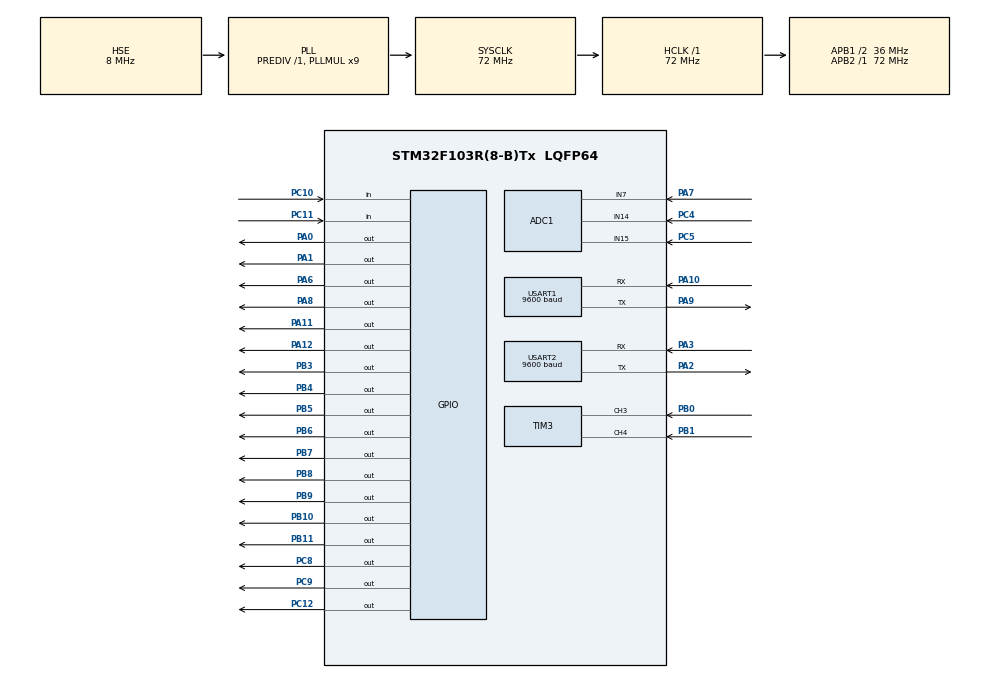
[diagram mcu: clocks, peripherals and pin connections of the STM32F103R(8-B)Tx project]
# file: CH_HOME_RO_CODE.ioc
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ADC1.Channel-0\#ChannelRegularConversion=ADC_CHANNEL_7
ADC1.Channel-1\#ChannelRegularConversion=ADC_CHANNEL_14
ADC1.Channel-2\#ChannelRegularConversion=ADC_CHANNEL_15
ADC1.ContinuousConvMode=ENABLE
ADC1.DataAlign=ADC_DATAALIGN_RIGHT
ADC1.DiscontinuousConvMode=DISABLE
ADC1.EnableAnalogWatchDog=false
ADC1.EnableRegularConversion=ENABLE
ADC1.ExternalTrigConv=ADC_SOFTWARE_START
ADC1.InjNumberOfConversion=0
ADC1.NbrOfConversion=3
ADC1.NbrOfConversionFlag=1
ADC1.Rank-0\#ChannelRegularConversion=1
ADC1.Rank-1\#ChannelRegularConversion=2
ADC1.Rank-2\#ChannelRegularConversion=3
ADC1.SamplingTime-0\#ChannelRegularConversion=ADC_SAMPLETIME_55CYCLES_5
ADC1.SamplingTime-1\#ChannelRegularConversion=ADC_SAMPLETIME_55CYCLES_5
ADC1.SamplingTime-2\#ChannelRegularConversion=ADC_SAMPLETIME_55CYCLES_5
ADC1.ScanConvMode=ADC_SCAN_ENABLE
ADC1.master=1
Dma.ADC1.4.Direction=DMA_PERIPH_TO_MEMORY
Dma.ADC1.4.Instance=DMA1_Channel1
Dma.ADC1.4.MemDataAlignment=DMA_MDATAALIGN_WORD
Dma.ADC1.4.MemInc=DMA_MINC_ENABLE
Dma.ADC1.4.Mode=DMA_CIRCULAR
Dma.ADC1.4.PeriphDataAlignment=DMA_PDATAALIGN_WORD
Dma.ADC1.4.PeriphInc=DMA_PINC_DISABLE
Dma.ADC1.4.Priority=DMA_PRIORITY_LOW
Dma.Request0=USART1_RX
Dma.Request1=USART1_TX
Dma.Request2=USART2_RX
Dma.Request3=USART2_TX
Dma.Request4=ADC1
Dma.USART1_RX.0.Direction=DMA_PERIPH_TO_MEMORY
Dma.USART1_RX.0.Instance=DMA1_Channel5
Dma.USART1_RX.0.MemDataAlignment=DMA_MDATAALIGN_BYTE
Dma.USART1_RX.0.MemInc=DMA_MINC_ENABLE
Dma.USART1_RX.0.Mode=DMA_NORMAL
Dma.USART1_RX.0.PeriphDataAlignment=DMA_PDATAALIGN_BYTE
Dma.USART1_RX.0.PeriphInc=DMA_PINC_DISABLE
Dma.USART1_RX.0.Priority=DMA_PRIORITY_VERY_HIGH
Dma.USART1_TX.1.Direction=DMA_MEMORY_TO_PERIPH
Dma.USART1_TX.1.Instance=DMA1_Channel4
Dma.USART1_TX.1.MemDataAlignment=DMA_MDATAALIGN_BYTE
Dma.USART1_TX.1.MemInc=DMA_MINC_ENABLE
Dma.USART1_TX.1.Mode=DMA_NORMAL
Dma.USART1_TX.1.PeriphDataAlignment=DMA_PDATAALIGN_BYTE
Dma.USART1_TX.1.PeriphInc=DMA_PINC_DISABLE
Dma.USART1_TX.1.Priority=DMA_PRIORITY_LOW
Dma.USART2_RX.2.Direction=DMA_PERIPH_TO_MEMORY
Dma.USART2_RX.2.Instance=DMA1_Channel6
Dma.USART2_RX.2.MemDataAlignment=DMA_MDATAALIGN_BYTE
Dma.USART2_RX.2.MemInc=DMA_MINC_ENABLE
Dma.USART2_RX.2.Mode=DMA_NORMAL
Dma.USART2_RX.2.PeriphDataAlignment=DMA_PDATAALIGN_BYTE
Dma.USART2_RX.2.PeriphInc=DMA_PINC_DISABLE
Dma.USART2_RX.2.Priority=DMA_PRIORITY_VERY_HIGH
Dma.USART2_TX.3.Direction=DMA_MEMORY_TO_PERIPH
Dma.USART2_TX.3.Instance=DMA1_Channel7
Dma.USART2_TX.3.MemDataAlignment=DMA_MDATAALIGN_BYTE
Dma.USART2_TX.3.MemInc=DMA_MINC_ENABLE
Dma.USART2_TX.3.Mode=DMA_NORMAL
Dma.USART2_TX.3.PeriphDataAlignment=DMA_PDATAALIGN_BYTE
Dma.USART2_TX.3.PeriphInc=DMA_PINC_DISABLE
Dma.USART2_TX.3.Priority=DMA_PRIORITY_LOW
FREERTOS.INCLUDE_vTaskDelayUntil=1
FREERTOS.Tasks01=AppTask,2,256,StartAppTask,Default,NULL,Dynamic,NULL,NULL;Bc95InitTask,-3,1024,StartBc95InitTask,Default,NULL,Dynamic,NULL,NULL;ControlTask,1,256,StartControlTask,Default,NULL,Dynamic,NULL,NULL;ErrorCheckTask,-3,300,StartErrorCheckTask,Default,NULL,Dynamic,NULL,NULL;Bc95RecvTask,3,1024,StartBc95RecvTask,Default,NULL,Dynamic,NULL,NULL;Bc95SendTask,-3,800,StartBc95SendTask,Default,NULL,Dynamic,NULL,NULL
FREERTOS.configTOTAL_HEAP_SIZE=17000
Mcu.Family=STM32F1
Mcu.Name=STM32F103R(8-B)Tx
Mcu.Package=LQFP64
NVIC.DMA1_Channel1_IRQn=true\:5\:0\:false\:false\:true\:true\:false
NVIC.DMA1_Channel4_IRQn=true\:5\:0\:false\:false\:true\:true\:false
NVIC.DMA1_Channel5_IRQn=true\:5\:0\:false\:false\:true\:true\:false
NVIC.DMA1_Channel6_IRQn=true\:5\:0\:false\:false\:true\:true\:false
NVIC.DMA1_Channel7_IRQn=true\:5\:0\:false\:false\:true\:true\:false
NVIC.PriorityGroup=NVIC_PRIORITYGROUP_4
NVIC.TIM1_BRK_IRQn=true\:5\:0\:false\:false\:true\:true\:true
NVIC.TIM1_CC_IRQn=true\:5\:0\:false\:false\:true\:true\:true
NVIC.TIM1_TRG_COM_IRQn=true\:5\:0\:false\:false\:true\:true\:true
NVIC.TIM1_UP_IRQn=true\:5\:0\:false\:false\:true\:true\:true
NVIC.TIM2_IRQn=true\:5\:0\:false\:false\:true\:true\:true
NVIC.TIM3_IRQn=true\:5\:0\:false\:false\:true\:true\:true
NVIC.TIM4_IRQn=true\:0\:0\:false\:false\:true\:false\:false
NVIC.TimeBase=TIM4_IRQn
NVIC.TimeBaseIP=TIM4
NVIC.USART1_IRQn=true\:5\:0\:false\:false\:true\:true\:true
NVIC.USART2_IRQn=true\:5\:0\:false\:false\:true\:true\:true
PA0-WKUP.Signal=GPIO_Output
PA1.GPIO_Speed=GPIO_SPEED_FREQ_HIGH
PA1.Signal=GPIO_Output
PA10.Mode=Asynchronous
PA10.Signal=USART1_RX
PA11.Signal=GPIO_Output
PA12.GPIO_Speed=GPIO_SPEED_FREQ_HIGH
PA12.PinState=GPIO_PIN_RESET
PA12.Signal=GPIO_Output
PA13.Mode=Serial_Wire
PA13.Signal=SYS_JTMS-SWDIO
PA14.Mode=Serial_Wire
PA14.Signal=SYS_JTCK-SWCLK
PA2.Mode=Asynchronous
PA2.Signal=USART2_TX
PA3.Mode=Asynchronous
PA3.Signal=USART2_RX
PA6.Signal=GPIO_Output
PA7.Signal=ADCx_IN7
PA8.Signal=GPIO_Output
PA9.Mode=Asynchronous
PA9.Signal=USART1_TX
PB0.Signal=S_TIM3_CH3
PB1.Signal=S_TIM3_CH4
PB10.GPIO_ModeDefaultOutputPP=GPIO_MODE_OUTPUT_OD
PB10.GPIO_Speed=GPIO_SPEED_FREQ_HIGH
PB10.Signal=GPIO_Output
PB11.GPIO_ModeDefaultOutputPP=GPIO_MODE_OUTPUT_OD
PB11.GPIO_Speed=GPIO_SPEED_FREQ_HIGH
PB11.Signal=GPIO_Output
PB3.GPIO_Speed=GPIO_SPEED_FREQ_LOW
PB3.PinState=GPIO_PIN_SET
PB3.Signal=GPIO_Output
PB4.PinState=GPIO_PIN_SET
PB4.Signal=GPIO_Output
PB5.PinState=GPIO_PIN_SET
PB5.Signal=GPIO_Output
PB6.PinState=GPIO_PIN_SET
PB6.Signal=GPIO_Output
PB7.PinState=GPIO_PIN_SET
PB7.Signal=GPIO_Output
PB8.Signal=GPIO_Output
PB9.Signal=GPIO_Output
PC10.GPIO_PuPd=GPIO_PULLUP
PC10.Signal=GPIO_Input
PC11.GPIO_PuPd=GPIO_PULLUP
PC11.Signal=GPIO_Input
PC12.GPIO_Speed=GPIO_SPEED_FREQ_LOW
PC12.PinState=GPIO_PIN_SET
PC12.Signal=GPIO_Output
PC4.Signal=ADCx_IN14
PC5.Signal=ADCx_IN15
PC8.Signal=GPIO_Output
PC9.Signal=GPIO_Output
PD0-OSC_IN.Mode=HSE-External-Oscillator
PD0-OSC_IN.Signal=RCC_OSC_IN
PD1-OSC_OUT.Mode=HSE-External-Oscillator
PD1-OSC_OUT.Signal=RCC_OSC_OUT
ProjectManager.HeapSize=0x200
ProjectManager.StackSize=0x400
ProjectManager.TargetToolchain=EWARM
RCC.ADCPresc=RCC_ADCPCLK2_DIV6
RCC.AHBFreq_Value=72000000
RCC.APB1CLKDivider=RCC_HCLK_DIV2
RCC.APB1Freq_Value=36000000
RCC.APB1TimFreq_Value=72000000
RCC.APB2Freq_Value=72000000
RCC.APB2TimFreq_Value=72000000
RCC.HCLKFreq_Value=72000000
RCC.PLLMUL=RCC_PLL_MUL9
RCC.PLLSourceVirtual=RCC_PLLSOURCE_HSE
RCC.SYSCLKFreq_VALUE=72000000
RCC.SYSCLKSource=RCC_SYSCLKSOURCE_PLLCLK
RCC.USBFreq_Value=72000000
SH.ADCx_IN14.0=ADC1_IN14,IN14
SH.ADCx_IN15.0=ADC1_IN15,IN15
SH.ADCx_IN7.0=ADC1_IN7,IN7
SH.S_TIM3_CH3.0=TIM3_CH3,Input_Capture3_from_TI3
SH.S_TIM3_CH4.0=TIM3_CH4,Input_Capture4_from_TI4
TIM1.Period=10000-1
TIM1.Prescaler=7200-1
TIM2.Period=100-1
TIM2.Prescaler=7200-1
TIM3.Channel-Input_Capture3_from_TI3=TIM_CHANNEL_3
TIM3.Channel-Input_Capture4_from_TI4=TIM_CHANNEL_4
USART1.BaudRate=9600
USART1.VirtualMode=VM_ASYNC
USART2.BaudRate=9600
USART2.VirtualMode=VM_ASYNC
VP_FREERTOS_VS_ENABLE.Mode=Enabled
VP_SYS_VS_tim4.Mode=TIM4
VP_TIM1_VS_ClockSourceINT.Mode=Internal
VP_TIM2_VS_ClockSourceINT.Mode=Internal
board=CH_HOME_RO_CODE

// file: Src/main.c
/**
  ******************************************************************************
  * @file           : main.c
  * @brief          : Main program body
  ******************************************************************************
  * This notice applies to any and all portions of this file
  * that are not between comment pairs USER CODE BEGIN and
  * USER CODE END. Other portions of this file, whether
  * inserted by the user or by software development tools
  * are owned by their respective copyright owners.
  *
  * Copyright (c) 2018 STMicroelectronics International N.V.
  * All rights reserved.
  *
  * Redistribution and use in source and binary forms, with or without
  * modification, are permitted, provided that the following conditions are met:
  *
  * 1. Redistribution of source code must retain the above copyright notice,
  *    this list of conditions and the following disclaimer.
  * 2. Redistributions in binary form must reproduce the above copyright notice,
  *    this list of conditions and the following disclaimer in the documentation
  *    and/or other materials provided with the distribution.
  * 3. Neither the name of STMicroelectronics nor the names of other
  *    contributors to this software may be used to endorse or promote products
  *    derived from this software without specific written permission.
  * 4. This software, including modifications and/or derivative works of this
  *    software, must execute solely and exclusively on microcontroller or
  *    microprocessor devices manufactured by or for STMicroelectronics.
  * 5. Redistribution and use of this software other than as permitted under
  *    this license is void and will automatically terminate your rights under
  *    this license.
  *
  * THIS SOFTWARE IS PROVIDED BY STMICROELECTRONICS AND CONTRIBUTORS "AS IS"
  * AND ANY EXPRESS, IMPLIED OR STATUTORY WARRANTIES, INCLUDING, BUT NOT
  * LIMITED TO, THE IMPLIED WARRANTIES OF MERCHANTABILITY, FITNESS FOR A
  * PARTICULAR PURPOSE AND NON-INFRINGEMENT OF THIRD PARTY INTELLECTUAL PROPERTY
  * RIGHTS ARE DISCLAIMED TO THE FULLEST EXTENT PERMITTED BY LAW. IN NO EVENT
  * SHALL STMICROELECTRONICS OR CONTRIBUTORS BE LIABLE FOR ANY DIRECT, INDIRECT,
  * INCIDENTAL, SPECIAL, EXEMPLARY, OR CONSEQUENTIAL DAMAGES (INCLUDING, BUT NOT
  * LIMITED TO, PROCUREMENT OF SUBSTITUTE GOODS OR SERVICES; LOSS OF USE, DATA,
  * OR PROFITS; OR BUSINESS INTERRUPTION) HOWEVER CAUSED AND ON ANY THEORY OF
  * LIABILITY, WHETHER IN CONTRACT, STRICT LIABILITY, OR TORT (INCLUDING
  * NEGLIGENCE OR OTHERWISE) ARISING IN ANY WAY OUT OF THE USE OF THIS SOFTWARE,
  * EVEN IF ADVISED OF THE POSSIBILITY OF SUCH DAMAGE.
  *
  ******************************************************************************
  */
#include "main.h"
#include "stm32f1xx_hal.h"
#include "cmsis_os.h"
#include "adc.h"
#include "dma.h"
#include "tim.h"
#include "usart.h"
#include "gpio.h"

/* USER CODE BEGIN Includes */
#include "app.h"
/* USER CODE END Includes */

/* USER CODE BEGIN PV */
/* Private variables ---------------------------------------------------------*/

/* USER CODE END PV */

void SystemClock_Config(void);
void MX_FREERTOS_Init(void);

/* USER CODE BEGIN PFP */
/* Private function prototypes -----------------------------------------------*/

/* USER CODE END PFP */

int main(void)
{

  /* MCU Configuration----------------------------------------------------------*/

  /* Reset of all peripherals, Initializes the Flash interface and the Systick. */
  HAL_Init();

  /* Configure the system clock */
  SystemClock_Config();

  /* Initialize all configured peripherals */
  MX_GPIO_Init();
  MX_DMA_Init();
  MX_ADC1_Init();
  MX_USART2_UART_Init();
  MX_USART1_UART_Init();
  MX_TIM3_Init();
  MX_TIM2_Init();
  MX_TIM1_Init();
  /* USER CODE BEGIN 2 */

    __HAL_UART_ENABLE_IT(&huart2, UART_IT_IDLE);

    device_status.rinse = 1;      //开机冲洗，
    device_status.boot = 1;       //设置设备开机
    start_adc();                  //开启adc转换

    HAL_TIM_IC_Start_IT(&htim3, TIM_CHANNEL_3);
    HAL_TIM_Base_Start_IT(&htim1);

    //读取eeprom
    eeprom_read_device_status();

    if(device_status.device_registe != 1){
        HAL_Delay(100);

        eeprom_save_device_status(YES);
        HAL_Delay(100);
        eeprom_read_device_status();
        device_status.rinse_time = 10;                  //默认冲洗10秒
        device_status.create_water_time_rinse = 1;      //制水1刻钟 15分钟冲洗
        device_status.device_mode = 1;                  //默认为租赁模式
        HAL_Delay(100);
        eeprom_save_device_status(NO);
    }

  /* USER CODE END 2 */

  /* Call init function for freertos objects (in freertos.c) */
  MX_FREERTOS_Init();

  /* Start scheduler */
  osKernelStart();

  /* We should never get here as control is now taken by the scheduler */

  /* Infinite loop */
    while (1)
    {

    }

}

void SystemClock_Config(void)
{

  RCC_OscInitTypeDef RCC_OscInitStruct;
  RCC_ClkInitTypeDef RCC_ClkInitStruct;
  RCC_PeriphCLKInitTypeDef PeriphClkInit;

    /**Initializes the CPU, AHB and APB busses clocks
    */
  RCC_OscInitStruct.OscillatorType = RCC_OSCILLATORTYPE_HSE;
  RCC_OscInitStruct.HSEState = RCC_HSE_ON;
  RCC_OscInitStruct.HSEPredivValue = RCC_HSE_PREDIV_DIV1;
  RCC_OscInitStruct.HSIState = RCC_HSI_ON;
  RCC_OscInitStruct.PLL.PLLState = RCC_PLL_ON;
  RCC_OscInitStruct.PLL.PLLSource = RCC_PLLSOURCE_HSE;
  RCC_OscInitStruct.PLL.PLLMUL = RCC_PLL_MUL9;
  if (HAL_RCC_OscConfig(&RCC_OscInitStruct) != HAL_OK)
  {
    _Error_Handler(__FILE__, __LINE__);
  }

    /**Initializes the CPU, AHB and APB busses clocks
    */
  RCC_ClkInitStruct.ClockType = RCC_CLOCKTYPE_HCLK|RCC_CLOCKTYPE_SYSCLK
                              |RCC_CLOCKTYPE_PCLK1|RCC_CLOCKTYPE_PCLK2;
  RCC_ClkInitStruct.SYSCLKSource = RCC_SYSCLKSOURCE_PLLCLK;
  RCC_ClkInitStruct.AHBCLKDivider = RCC_SYSCLK_DIV1;
  RCC_ClkInitStruct.APB1CLKDivider = RCC_HCLK_DIV2;
  RCC_ClkInitStruct.APB2CLKDivider = RCC_HCLK_DIV1;

  if (HAL_RCC_ClockConfig(&RCC_ClkInitStruct, FLASH_LATENCY_2) != HAL_OK)
  {
    _Error_Handler(__FILE__, __LINE__);
  }

  PeriphClkInit.PeriphClockSelection = RCC_PERIPHCLK_ADC;
  PeriphClkInit.AdcClockSelection = RCC_ADCPCLK2_DIV6;
  if (HAL_RCCEx_PeriphCLKConfig(&PeriphClkInit) != HAL_OK)
  {
    _Error_Handler(__FILE__, __LINE__);
  }

    /**Configure the Systick interrupt time
    */
  HAL_SYSTICK_Config(HAL_RCC_GetHCLKFreq()/1000);

    /**Configure the Systick
    */
  HAL_SYSTICK_CLKSourceConfig(SYSTICK_CLKSOURCE_HCLK);

  /* SysTick_IRQn interrupt configuration */
  HAL_NVIC_SetPriority(SysTick_IRQn, 15, 0);
}

void HAL_TIM_PeriodElapsedCallback(TIM_HandleTypeDef *htim)
{
  /* USER CODE BEGIN Callback 0 */

    if (htim->Instance == TIM1) {
        //制水时间计时器，每秒记一次，如果满60则加一分钟
        device_status.create_water_time_s++;
        if(device_status.create_water_time_s >= 60){
            device_status.create_water_time_m++;
            device_status.create_water_time_s = 0;
        }
    }

  /* USER CODE END Callback 0 */
  if (htim->Instance == TIM4) {
    HAL_IncTick();
  }
}

void _Error_Handler(char *file, int line)
{
    while(1)
    {
    }
}

/************************ (C) COPYRIGHT STMicroelectronics *****END OF FILE****/

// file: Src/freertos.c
/**
  ******************************************************************************
  * File Name          : freertos.c
  * Description        : Code for freertos applications
  ******************************************************************************
  * This notice applies to any and all portions of this file
  * that are not between comment pairs USER CODE BEGIN and
  * USER CODE END. Other portions of this file, whether
  * inserted by the user or by software development tools
  * are owned by their respective copyright owners.
  *
  * Copyright (c) 2018 STMicroelectronics International N.V.
  * All rights reserved.
  *
  * Redistribution and use in source and binary forms, with or without
  * modification, are permitted, provided that the following conditions are met:
  *
  * 1. Redistribution of source code must retain the above copyright notice,
  *    this list of conditions and the following disclaimer.
  * 2. Redistributions in binary form must reproduce the above copyright notice,
  *    this list of conditions and the following disclaimer in the documentation
  *    and/or other materials provided with the distribution.
  * 3. Neither the name of STMicroelectronics nor the names of other
  *    contributors to this software may be used to endorse or promote products
  *    derived from this software without specific written permission.
  * 4. This software, including modifications and/or derivative works of this
  *    software, must execute solely and exclusively on microcontroller or
  *    microprocessor devices manufactured by or for STMicroelectronics.
  * 5. Redistribution and use of this software other than as permitted under
  *    this license is void and will automatically terminate your rights under
  *    this license.
  *
  * THIS SOFTWARE IS PROVIDED BY STMICROELECTRONICS AND CONTRIBUTORS "AS IS"
  * AND ANY EXPRESS, IMPLIED OR STATUTORY WARRANTIES, INCLUDING, BUT NOT
  * LIMITED TO, THE IMPLIED WARRANTIES OF MERCHANTABILITY, FITNESS FOR A
  * PARTICULAR PURPOSE AND NON-INFRINGEMENT OF THIRD PARTY INTELLECTUAL PROPERTY
  * RIGHTS ARE DISCLAIMED TO THE FULLEST EXTENT PERMITTED BY LAW. IN NO EVENT
  * SHALL STMICROELECTRONICS OR CONTRIBUTORS BE LIABLE FOR ANY DIRECT, INDIRECT,
  * INCIDENTAL, SPECIAL, EXEMPLARY, OR CONSEQUENTIAL DAMAGES (INCLUDING, BUT NOT
  * LIMITED TO, PROCUREMENT OF SUBSTITUTE GOODS OR SERVICES; LOSS OF USE, DATA,
  * OR PROFITS; OR BUSINESS INTERRUPTION) HOWEVER CAUSED AND ON ANY THEORY OF
  * LIABILITY, WHETHER IN CONTRACT, STRICT LIABILITY, OR TORT (INCLUDING
  * NEGLIGENCE OR OTHERWISE) ARISING IN ANY WAY OUT OF THE USE OF THIS SOFTWARE,
  * EVEN IF ADVISED OF THE POSSIBILITY OF SUCH DAMAGE.
  *
  ******************************************************************************
  */

#include "FreeRTOS.h"
#include "task.h"
#include "cmsis_os.h"

/* USER CODE BEGIN Includes */

#include "app.h"

/* USER CODE END Includes */

osThreadId AppTaskHandle;
osThreadId Bc95InitTaskHandle;
osThreadId ControlTaskHandle;
osThreadId ErrorCheckTaskHandle;
osThreadId Bc95RecvTaskHandle;
osThreadId Bc95SendTaskHandle;

void StartAppTask(void const * argument);
void StartBc95InitTask(void const * argument);
void StartControlTask(void const * argument);
void StartErrorCheckTask(void const * argument);
void StartBc95RecvTask(void const * argument);
void StartBc95SendTask(void const * argument);

void MX_FREERTOS_Init(void); /* (MISRA C 2004 rule 8.1) */

/* Hook prototypes */

/* Init FreeRTOS */

void MX_FREERTOS_Init(void) {

  /* Create the thread(s) */

  /* definition and creation of Bc95InitTask */
  osThreadDef(Bc95InitTask, StartBc95InitTask, osPriorityIdle, 0, 1024);
  Bc95InitTaskHandle = osThreadCreate(osThread(Bc95InitTask), NULL);

  if(device_status.device_registe == 1){
      osThreadDef(ControlTask, StartControlTask, osPriorityAboveNormal, 0, 256);
      ControlTaskHandle = osThreadCreate(osThread(ControlTask), NULL);
  }

  /* definition and creation of Bc95SendTask */
  osThreadDef(Bc95SendTask, StartBc95SendTask, osPriorityIdle, 0, 1024);
  Bc95SendTaskHandle = osThreadCreate(osThread(Bc95SendTask), NULL);

}

/* StartAppTask function */
void StartAppTask(void const * argument)
{

  /* USER CODE BEGIN StartAppTask */
    uint32_t send_data_time_count = 0;
    /* Infinite loop */
    for(;;)
    {

        send_data_time_count++;

        if(device_status.device_mode == 1){              //设备为租赁模式

            if(device_status.arrears_boot == 0){         //如果设备欠费则停机
                device_status.boot = 0;
            }

            if(device_status.flow_or_time == 1){         //流量模式

                if(device_status.server_flow <= 0){
                    device_status.arrears_boot = 0;
                }

            }else if(device_status.flow_or_time == 2){  //时间模式
                //如果时间到则停机
                if(device_status.server_time <= 0){
                    device_status.arrears_boot = 0;      //设置停机
                }
            }

        }else if(device_status.device_mode == 2){       //设备为零售模式
            //零售模式不存在停机开关机，永远停机开机
            device_status.arrears_boot = 1;
        }

        if(send_data_time_count >= 57600){               //48分钟发送一次
            bc95_status.need_send = 1;
            send_data_time_count = 0;
        }

        feed_wdi();
        osDelay(50);
    }
  /* USER CODE END StartAppTask */
}

/* StartBc95InitTask function */
void StartBc95InitTask(void const * argument)
{
  /* USER CODE BEGIN StartBc95InitTask */
    /* Infinite loop */
    for(;;)
    {

        beep(255);
        osDelay(256);
        beep(255);

        if(device_status.bc95_run){
            //开启计费系统
            /* definition and creation of AppTask */
            osThreadDef(AppTask, StartAppTask, osPriorityHigh, 0, 256);
            AppTaskHandle = osThreadCreate(osThread(AppTask), NULL);

            //如果系统第一次启动，不会启动控制系统，如果检测到控制系统未启动，则
            //开启控制系统
            if(ControlTaskHandle == NULL && device_status.device_registe == 1){
                osThreadDef(ControlTask, StartControlTask, osPriorityAboveNormal, 0, 256);
                ControlTaskHandle = osThreadCreate(osThread(ControlTask), NULL);
            }else{
                //device_status.arrears_boot = 0;
            }

            //开始检查bc95接收任务
            /* definition and creation of Bc95RecvTask */
            osThreadDef(Bc95RecvTask, StartBc95RecvTask, osPriorityIdle, 0, 1024);
            Bc95RecvTaskHandle = osThreadCreate(osThread(Bc95RecvTask), NULL);

            /* definition and creation of ErrorCheckTask */
            osThreadDef(ErrorCheckTask, StartErrorCheckTask, osPriorityIdle, 0, 256);
            ErrorCheckTaskHandle = osThreadCreate(osThread(ErrorCheckTask), NULL);

            status_network_led(GPIO_PIN_SET);

            //初始化完成后删除该任务
            vTaskDelete(NULL);
        }
        bc95_reboot();
        osDelay(1300);
    }
  /* USER CODE END StartBc95InitTask */
}

/* StartControlTask function */
void StartControlTask(void const * argument)
{
  /* USER CODE BEGIN StartControlTask */
    uint8_t no_water_count = 0;
    /* Infinite loop */
    for(;;)
    {
        //boot_rinse();
        _system_led;

        //如果需要冲洗，则开启冲洗
        if(device_status.rinse){
            device_status.rinse = 0;
            start_rinse();
            osDelay(device_status.rinse_time * 1000);
            stop_rinse();
        }

        //检测是否缺水
        if(get_low_switch()){
            no_water_count++;
            stop_rinse();

            if(no_water_count >= 5){    //如果连续10秒没有水
                device_error.raw_no_water = 1;
            }

        }else{
            //清空缺水计数
            no_water_count = 0;
            device_error.raw_no_water = 0;
            //允许再次发送缺水信息
            if(device_error.raw_no_water_sended == 1){
                device_status.processing_status = 0;
                bc95_status.need_send = 1;
                device_error.raw_no_water_sended = 0;
            }

            //水满，停止制水
            if(get_high_switch()){
                stop_create_water();
            }else{      //水未满，继续制水
                start_create_water();
            }
        }

                //如果到时间则冲洗
        if(device_status.create_water_time_m >= (device_status.create_water_time_rinse * 15)){
            device_status.rinse = 1;
        }

        osDelay(2000);
    }
  /* USER CODE END StartControlTask */
}

/* StartErrorCheckTask function */
void StartErrorCheckTask(void const * argument)
{
  /* USER CODE BEGIN StartErrorCheckTask */

    uint8_t leakage_count = 0;

    /* Infinite loop */
    for(;;)
    {
        feed_wdi();     //喂狗

        //累加20次漏水检测结果
        uint32_t leakage_value = 0;
        for(uint8_t i = 0 ; i < 10 ; i++){
            leakage_value += adc_value[ i * 3 ];
        }
        /* 计算漏水检测到的数值，并判断是否漏水，如果本次漏水则将漏水计数+1
        如果不漏水则清0，
        */
        if(leakage_value/10 <= 2500){
            leakage_count++;
        }else{
            leakage_count = 0;
        }

        /* 如果连续漏水超过30秒，则设置漏水标志，
        如果不漏水了，则设置可以发送错误标志位，并清除错误
        */
        if(leakage_count >= 6){
            device_error.leakage = 1;
            leakage_count = 6;
            beep(100);
        }else{
            device_error.leakage = 0;
            if(device_error.leakage_sended == 1){
                device_status.processing_status = 0;
                bc95_status.need_send = 1;
                device_error.leakage_sended = 0;
            }
        }

        //判断是否有错误,如果有错误，则继续检测是什么错误
        if(device_error.bc95_init_error != 0 ||         // bc95初始化失败
           device_error.create_water_too_long != 0 ||   // 制水时间过长
               device_error.leakage != 0 ||                 // 漏水
                   device_error.raw_no_water != 0 ||            // 原水缺水
                       device_status.arrears_boot == 0 )            // 停机
        {

            device_status.processing_status = 3;        //设置错误

            //检测BC95是否初始化失败，如果失败则重新初始化
            if(device_error.bc95_init_error == BC95_CONNECT_ERROR){
                beep(50);
                //如果BC95初始化失败，则重新创建初始化任务。
                /* definition and creation of Bc95InitTask */
                osThreadDef(Bc95InitTask, StartBc95InitTask, osPriorityIdle, 0, 512);
                Bc95InitTaskHandle = osThreadCreate(osThread(Bc95InitTask), NULL);
            }

            //检测是否已经缺水，如果已经缺水，并且没有发送错误信息，则发送错误
            if(device_error.raw_no_water == 1 && device_error.raw_no_water_sended == 0){
                bc95_status.need_send = 1;
            }

            //检测是否发生漏水，如果已经漏水，并且没有发送错误信息，则发送错误信息
            if(device_error.leakage == 1 && device_error.leakage_sended == 0){
                device_status.boot = 0;                 //漏水关机,
                bc95_status.need_send = 1;
            }
            status_error_led(GPIO_PIN_SET);
        }else{
            device_status.processing_status = 0;
            status_error_led(GPIO_PIN_RESET);
        }

        osDelay(5000);
    }
  /* USER CODE END StartErrorCheckTask */
}

/* StartBc95RecvTask function */
void StartBc95RecvTask(void const * argument)
{
  /* USER CODE BEGIN StartBc95RecvTask */
    uint8_t count = 0;
    /* Infinite loop */
    for(;;)
    {
        _network_led;
        count++;

        if(count >= 5){
            count = 0;
            //获取联网状态，如果掉网则重新注册
            if(!bc95_get_profile_status()){
                bc95_send_command("AT+CGATT=1\r\n", "OK", BC95_TIMEOUT, BC95_LOOP_NUMBER);
            }

            bc95_get_csq();
        }
        bc95_check_recv();
        osDelay(3000);
    }
  /* USER CODE END StartBc95RecvTask */
}

/* StartBc95SendTask function */
void StartBc95SendTask(void const * argument)
{
  /* USER CODE BEGIN StartBc95SendTask */
    /* Infinite loop */
    for(;;)
    {
        if(bc95_status.need_send == 1){
            bc95_status.need_send = 0;

            if(device_error.leakage_sended == 0 && device_error.leakage == 1){
                device_error.leakage_sended = 1;
                device_status.processing_status = COAP_DEVICE_ERROR;
            }

            if(device_error.raw_no_water_sended == 0 && device_error.raw_no_water == 1){
                device_error.raw_no_water_sended = 1;
                device_status.processing_status = COAP_DEVICE_ERROR;
            }

            bc95_send_coap(cmd_coap_send_ok);
            eeprom_save_device_status(NO);
        }
        feed_wdi();
        osDelay(10);
    }
  /* USER CODE END StartBc95SendTask */
}

/************************ (C) COPYRIGHT STMicroelectronics *****END OF FILE****/
